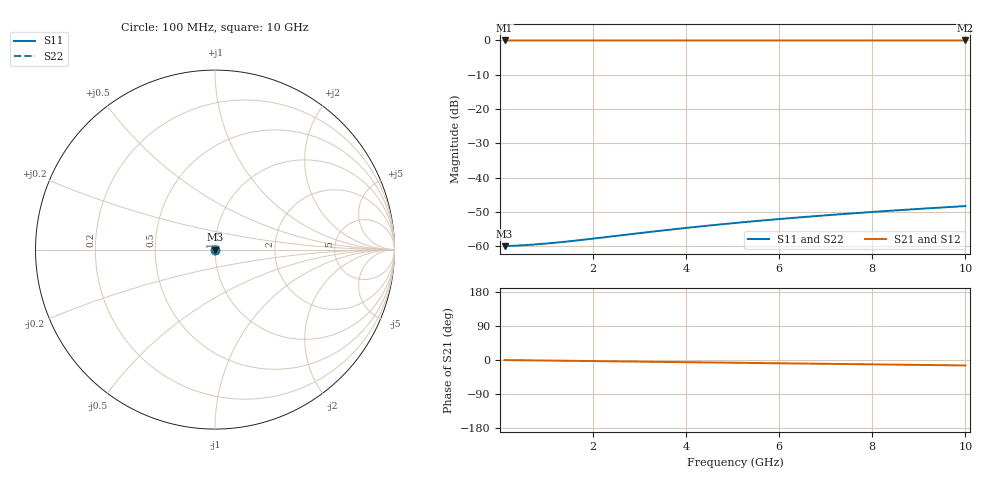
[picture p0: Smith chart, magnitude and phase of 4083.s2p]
# Hz S RI R 50.00
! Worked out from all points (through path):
!   100 points, 100 MHz to 10 GHz, reference 50 ohm
!   highest |S21| = -0.01 dB at 100 MHz (marker M1); lowest = 0.0 dB at 10 GHz (marker M2)
!   group delay of S21, straight-line fit = 4 ps
!   lowest |S11| = -60.0 dB at 100 MHz (marker M3), VSWR 1.00, Z = 50.1 + j0.00368 ohm
!   |S11| at or under -10 dB: start of sweep to end of sweep
!   |S22| runs from -60.0 to -48.3 dB; largest |S21 - S12| = 0
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1e8  0.000997 3.67e-05  0.999 -0.0025  0.999 -0.0025  0.000997 3.67e-05
5e8  0.00101 0.000183  0.9989 -0.0125  0.9989 -0.0125  0.00101 0.000183
7e8  0.00102 0.000256  0.9988 -0.0175  0.9988 -0.0175  0.00102 0.000256
9e8  0.00103 0.000329  0.9987 -0.0225  0.9987 -0.0225  0.00103 0.000329
1.1e9  0.00103 0.000401  0.9986 -0.0275  0.9986 -0.0275  0.00103 0.000401
1.3e9  0.00104 0.000473  0.9984 -0.0325  0.9984 -0.0325  0.00104 0.000473
1.5e9  0.00104 0.000545  0.9982 -0.0375  0.9982 -0.0375  0.00104 0.000545
1.8e9  0.00105 0.000653  0.9979 -0.045  0.9979 -0.045  0.00105 0.000653
3e9  0.00111 0.00108  0.9961 -0.0749  0.9961 -0.0749  0.00111 0.00108
3.4e9  0.00113 0.00121  0.9953 -0.0849  0.9953 -0.0849  0.00113 0.00121
3.9e9  0.00117 0.00138  0.9941 -0.0974  0.9941 -0.0974  0.00117 0.00138
4.3e9  0.0012 0.00152  0.9931 -0.1074  0.9931 -0.1074  0.0012 0.00152
4.7e9  0.00123 0.00165  0.9919 -0.1174  0.9919 -0.1174  0.00123 0.00165
5.1e9  0.00127 0.00179  0.9907 -0.1273  0.9907 -0.1273  0.00127 0.00179
5.5e9  0.0013 0.00192  0.9894 -0.1373  0.9894 -0.1373  0.0013 0.00192
5.9e9  0.00134 0.00205  0.9879 -0.1472  0.9879 -0.1472  0.00134 0.00205
6.3e9  0.00139 0.00218  0.9864 -0.1572  0.9864 -0.1572  0.00139 0.00218
6.7e9  0.00143 0.0023  0.9847 -0.1671  0.9847 -0.1671  0.00143 0.0023
7.5e9  0.00153 0.00256  0.9811 -0.1869  0.9811 -0.1869  0.00153 0.00256
8.4e9  0.00165 0.00283  0.9766 -0.2092  0.9766 -0.2092  0.00165 0.00283
9.2e9  0.00178 0.00308  0.9722 -0.2289  0.9722 -0.2289  0.00178 0.00308
1e10  0.00191 0.00332  0.9673 -0.2485  0.9673 -0.2485  0.00191 0.00332
